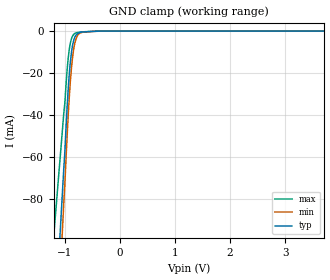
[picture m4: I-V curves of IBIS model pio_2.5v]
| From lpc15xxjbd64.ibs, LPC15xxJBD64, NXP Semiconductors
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[Model] pio_2.5v
Model_type Input
Vinl = 750.000mV
Vinh = 1.75000V
C_comp 598.000fF 598.000fF 598.000fF
| variable typ   min   max
[Voltage Range] 2.50000V 2.25000V 2.75000V
[POWER Clamp Reference] 2.50000V 2.25000V 2.75000V
[GND Clamp Reference] 0.00000V 0.00000V 0.00000V
[Temperature Range]   25   85   -40
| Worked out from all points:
|   GND clamp passes 1 mA (typ) near -0.75 V on its own axis
[GND Clamp]
-2.5V     -751.2mA   -845mA     -512.1mA
-1.02V    -65.72mA   -82.28mA   -39.39mA
-1V       -57.52mA   -72.74mA   -34.23mA
-960mV    -36.8mA    -50.53mA   -18.93mA
-940mV    -28mA      -40.54mA   -13.13mA
-900mV    -14.62mA   -23.94mA   -5.672mA
-860mV    -6.743mA   -12.52mA   -2.364mA
-840mV    -4.432mA   -8.664mA   -1.584mA
-800mV    -1.977mA   -3.9mA     -857.9uA
-700mV    -522.6uA   -703.6uA   -398.5uA
-320mV    0A         0A         0A
5V        0A         0A         0A
[Power Clamp]
-2.5V     0A         0A         0A
0V        0A         0A         0A
2.5V      0A         0A         0A
5V        0A         0A         0A
